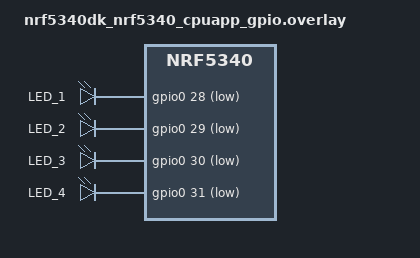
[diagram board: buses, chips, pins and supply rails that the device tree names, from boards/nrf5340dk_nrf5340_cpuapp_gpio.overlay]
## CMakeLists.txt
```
cmake_minimum_required(VERSION 3.20.0)

find_package(Zephyr REQUIRED HINTS $ENV{ZEPHYR_BASE})
project(21_interrupt_led)

target_sources(app PRIVATE src/main.c)
```

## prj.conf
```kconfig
# 启用GPIO和定时器驱动
CONFIG_GPIO=y
CONFIG_NRFX_TIMER1=y
# nrfx驱动可以在Zephyr中使用, 为Nordic芯片提供硬件支持
# The TIMER modules can provide more accurate timing than the standard Zephyr RTC modules (used by timer functions),
# 16MHz clock speed vs 32.768kHz.


# 启用日志和打印功能
CONFIG_PRINTK=y
CONFIG_LOG=y
```

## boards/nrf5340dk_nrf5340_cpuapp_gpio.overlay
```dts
/dts-v1/;
/plugin/;

/ {
    /* 别名 */
    aliases {
        led0 = &led0;
        led1 = &led1;
        led2 = &led2;
        led3 = &led3;
    };

    /* 配置 LED */
    leds {
        compatible = "gpio-leds";
        led0: led_0 {
            gpios = <&gpio0 28 GPIO_ACTIVE_LOW>;  // LED1 (P0.28)
            label = "LED_1";
        };
        led1: led_1 {
            gpios = <&gpio0 29 GPIO_ACTIVE_LOW>;  // LED2 (P0.29)
            label = "LED_2";
        };
        led2: led_2 {
            gpios = <&gpio0 30 GPIO_ACTIVE_LOW>;  // LED3 (P0.30)
            label = "LED_3";
        };
        led3: led_3 {
            gpios = <&gpio0 31 GPIO_ACTIVE_LOW>;  // LED4 (P0.31)
            label = "LED_4";
        };
    };
};
```

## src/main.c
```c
#include <zephyr/kernel.h>
#include <zephyr/sys/printk.h>
#include <zephyr/drivers/gpio.h>
#include <nrfx_timer.h>

/* LED定义 */
// 使用 GPIO_DT_SPEC_GET 宏从设备树节点中提取 GPIO 的完整规格（控制器、引脚号、标志位）
// 使用 DT_ALIAS() 从设备树中获取节点的别名
#define LED_NUM 4
static const struct gpio_dt_spec leds[LED_NUM] = {
	GPIO_DT_SPEC_GET(DT_ALIAS(led0), gpios),
	GPIO_DT_SPEC_GET(DT_ALIAS(led1), gpios),
	GPIO_DT_SPEC_GET(DT_ALIAS(led2), gpios),
	GPIO_DT_SPEC_GET(DT_ALIAS(led3), gpios),
};

///////////////////////////////////////////////////////////////////
// LED 相关的函数
int init_LED() {
	for (int i = 0; i < ARRAY_SIZE(leds); i++) {
		if (!device_is_ready(leds[i].port)) {
			printk("Error: LED device %s is not ready!\n", leds[i].port->name);
			return -11;
		}

		// 先把灯都关掉
		int ret = gpio_pin_configure_dt(&leds[i], GPIO_OUTPUT_INACTIVE);
		if (ret != 0) {
			printk("Error %d: failed to init (set to inactive) LED %d pin %d\n", ret, i, leds[i].pin);
			return -12;
		}
	}

	return 0;
}

int turn_on_LED(int i) {
	if (i < 0) { return -13; }
	if (i >= LED_NUM) { return -13; }
	return gpio_pin_configure_dt(&leds[i], GPIO_OUTPUT_ACTIVE);
}

int turn_off_LED(int i) {
	if (i < 0) { return -13; }
	if (i >= LED_NUM) { return -13; }
	return gpio_pin_configure_dt(&leds[i], GPIO_OUTPUT_INACTIVE);
}

int toggle_LED(int i) {
	if (i < 0) { return -13; }
	if (i >= LED_NUM) { return -13; }
	int val = gpio_pin_get_dt(&leds[i]);
	return gpio_pin_configure_dt(&leds[i], 1-val);
}

///////////////////////////////////////////////////////////////////
// This section is stolen from https://github.com/too1/ncs-nrfx-timer-example
//
// Get a reference to the TIMER1 instance
#define TIMER_ID 1
static const nrfx_timer_t my_timer = NRFX_TIMER_INSTANCE(TIMER_ID);

// 中断callback!
void timer_event_handler(nrf_timer_event_t event_type, void * p_context) {
	static int current_led = 0;  // 当前点亮的LED索引

	switch(event_type) {
		case NRF_TIMER_EVENT_COMPARE0:
			for (int i = 0; i < LED_NUM; i++) { turn_off_LED(i); } // 先关闭所有LED
			turn_on_LED(current_led); // 点亮当前LED
			current_led = (current_led + 1) % LED_NUM; // 更新到下一个LED（循环）
			printk("Current LED: %d\n", current_led);
			break;
        default: break;
	}
}

// Function for initializing the TIMER1 peripheral using the nrfx driver
static void timer_init() {
	nrfx_timer_config_t timer_config = NRFX_TIMER_DEFAULT_CONFIG(1000000); // 定时器的基础频率
	timer_config.bit_width = NRF_TIMER_BIT_WIDTH_32;

	int err = nrfx_timer_init(&my_timer, &timer_config, timer_event_handler);
	if (err != NRFX_SUCCESS) {printk("Error initializing timer: %x\n", err);}

	// 绕过Zephyr的中断封装层, 直接将中断服务例程（ISR）绑定到指定的硬件中断线
	IRQ_DIRECT_CONNECT(TIMER1_IRQn, 0, nrfx_timer_1_irq_handler, 0);
	irq_enable(TIMER1_IRQn);
}

// Function for scheduling repeated callbacks from TIMER1
// 用来控制定时器“每隔多久触发一次中断”, 修改其参数即可实时调整LED闪烁速度
// 便于动态调整!
static void timer_repeated_timer_start(uint32_t timeout_us) {
	nrfx_timer_enable(&my_timer); // 启动定时器硬件, 开始计数
	nrfx_timer_extended_compare(
		&my_timer, NRF_TIMER_CC_CHANNEL0, timeout_us, NRF_TIMER_SHORT_COMPARE0_CLEAR_MASK, true
	);
}

//////////////////////////////////////////////////////////////////////////////////////////////////////
int main() {
	printk("nRF5340 DK button-LED starts!\n");

	// 初始化LED
	if (init_LED() != 0) {
		printk("Error: not all LEDs are good to go! Quitting...\n");
		return -1;
	}

	// Initialize TIMER1
	timer_init();
	// Setup TIMER1 to generate callbacks every 0.75 seconds
	timer_repeated_timer_start(750000);

	// 主线程进入休眠，由中断处理所有工作
	while (1) { k_sleep(K_FOREVER); } // 不加这句也行, 退出main()后, 这里设置的中断响应仍然可以正常运行

	return 0;
}
```
